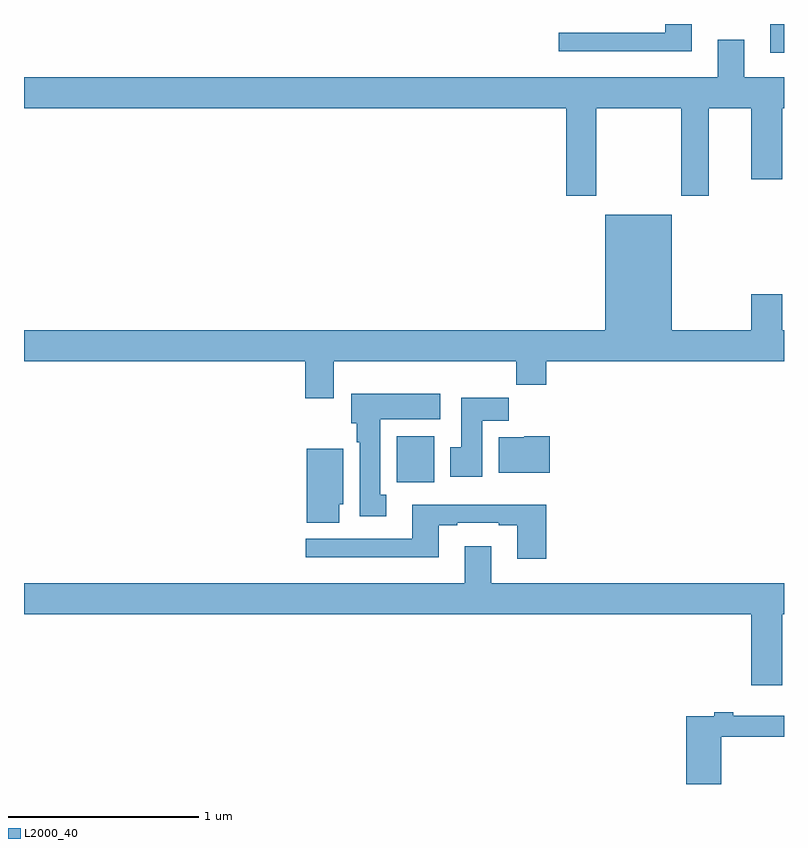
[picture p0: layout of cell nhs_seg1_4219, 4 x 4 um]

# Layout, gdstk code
import gdstk
lib = gdstk.Library(unit=1e-6, precision=1e-09)
def R(c, l, rs):  # rectangles x0, y0, x1, y1
    for r in rs: c.add(gdstk.rectangle(r[:2], r[2:], *l))
def P(c, l, *ps):  # polygons
    for p in ps: c.add(gdstk.Polygon(p, *l))
L2000_40 = (2000, 40)

nhs_seg1_4219 = lib.new_cell('nhs_seg1_4219')
R(nhs_seg1_4219, L2000_40, [(342.962,525.788,343.159,526.03), (344.927,528.048,345,528.199)])
P(nhs_seg1_4219, L2000_40, [(344.515,528.199),(344.375,528.199),(344.375,528.153),(343.815,528.153),(343.815,528.056),(344.515,528.056)],
  [(341,527.756),(343.853,527.756),(343.853,527.295),(344.013,527.295),(344.013,527.756),(344.458,527.756),(344.458,527.295),(344.605,527.295),(344.605,527.756),(344.828,527.756),(344.828,527.382),(344.992,527.382),(344.992,527.756),(345,527.756),(345,527.92),(344.791,527.92),(344.791,528.115),(344.651,528.115),(344.651,527.92),(341,527.92)],
  [(342.631,526.424),(343.591,526.424),(343.591,526.3),(343.748,526.3),(343.748,526.424),(345,526.424),(345,526.588),(344.992,526.588),(344.992,526.777),(344.828,526.777),(344.828,526.588),(344.41,526.588),(344.41,527.194),(344.06,527.194),(344.06,526.588),(341,526.588),(341,526.424),(342.479,526.424),(342.479,526.23),(342.631,526.23)],
  [(342.907,525.722),(342.874,525.722),(342.874,526.118),(343.192,526.118),(343.192,526.252),(342.722,526.252),(342.722,526.098),(342.752,526.098),(342.752,525.998),(342.767,525.998),(342.767,525.609),(342.907,525.609)],
  [(343.411,526.112),(343.55,526.112),(343.55,526.231),(343.301,526.231),(343.301,525.972),(343.244,525.972),(343.244,525.816),(343.411,525.816)],
  [(343.768,526.03),(343.632,526.03),(343.632,526.024),(343.499,526.024),(343.499,525.836),(343.768,525.836)],
  [(342.658,525.672),(342.679,525.672),(342.679,525.964),(342.488,525.964),(342.488,525.574),(342.658,525.574)],
  [(343.748,525.67),(343.043,525.67),(343.043,525.489),(342.483,525.489),(342.483,525.392),(343.183,525.392),(343.183,525.561),(343.279,525.561),(343.279,525.573),(343.499,525.573),(343.499,525.561),(343.595,525.561),(343.595,525.384),(343.748,525.384)],
  [(344.992,525.092),(345,525.092),(345,525.256),(343.459,525.256),(343.459,525.451),(343.319,525.451),(343.319,525.256),(341,525.256),(341,525.092),(344.828,525.092),(344.828,524.718),(344.992,524.718)],
  [(344.669,524.448),(345,524.448),(345,524.557),(344.732,524.557),(344.732,524.576),(344.632,524.576),(344.632,524.556),(344.486,524.556),(344.486,524.199),(344.669,524.199)])

lib.write_gds('nhs_seg1_4219.gds')
